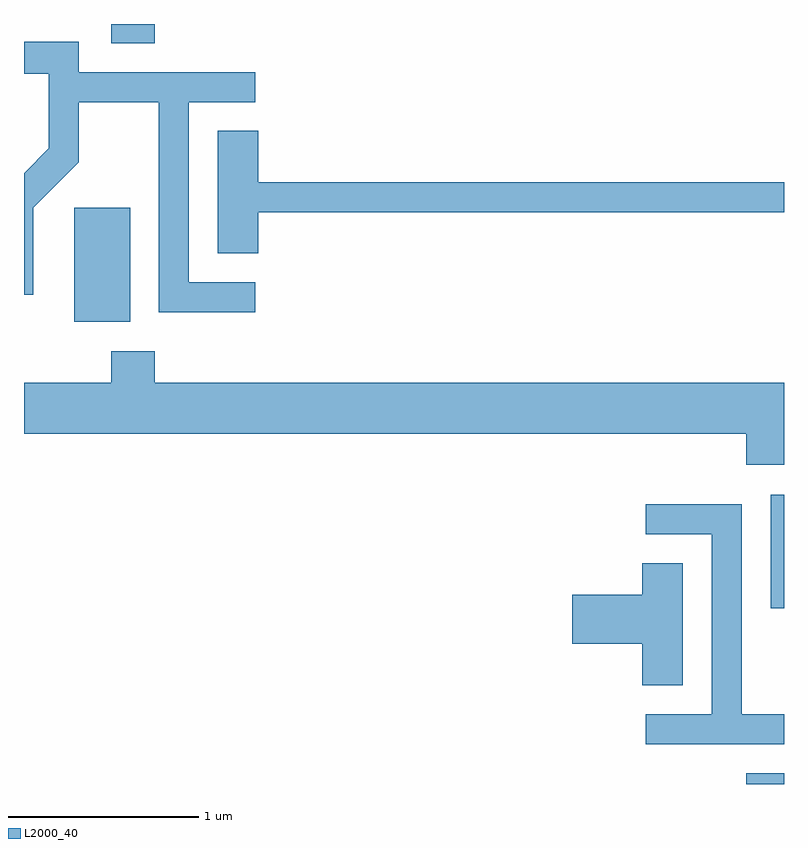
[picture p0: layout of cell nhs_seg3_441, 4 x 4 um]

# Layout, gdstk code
import gdstk
lib = gdstk.Library(unit=1e-6, precision=1e-09)
def R(c, l, rs):  # rectangles x0, y0, x1, y1
    for r in rs: c.add(gdstk.rectangle(r[:2], r[2:], *l))
def P(c, l, *ps):  # polygons
    for p in ps: c.add(gdstk.Polygon(p, *l))
L2000_40 = (2000, 40)

nhs_seg3_441 = lib.new_cell('nhs_seg3_441')
R(nhs_seg3_441, L2000_40, [(201.411,1181.892,201.611,1181.949), (201.541,1182.816,201.611,1183.414), (197.876,1184.326,198.169,1184.924), (198.071,1185.791,198.299,1185.892)])
P(nhs_seg3_441, L2000_40, [(198.828,1184.534),(198.479,1184.534),(198.479,1185.481),(198.828,1185.481),(198.828,1185.639),(197.899,1185.639),(197.899,1185.799),(197.611,1185.799),(197.611,1185.631),(197.741,1185.631),(197.741,1185.237),(197.611,1185.107),(197.611,1184.468),(197.659,1184.468),(197.659,1184.924),(197.899,1185.164),(197.899,1185.481),(198.321,1185.481),(198.321,1184.376),(198.828,1184.376)],
  [(198.844,1184.901),(201.611,1184.901),(201.611,1185.059),(198.844,1185.059),(198.844,1185.329),(198.631,1185.329),(198.631,1184.686),(198.844,1184.686)],
  [(201.611,1184.004),(198.299,1184.004),(198.299,1184.169),(198.071,1184.169),(198.071,1184.004),(197.611,1184.004),(197.611,1183.736),(201.411,1183.736),(201.411,1183.571),(201.611,1183.571)],
  [(201.611,1182.259),(201.389,1182.259),(201.389,1183.364),(200.883,1183.364),(200.883,1183.206),(201.231,1183.206),(201.231,1182.259),(200.883,1182.259),(200.883,1182.101),(201.611,1182.101)],
  [(201.079,1183.054),(200.866,1183.054),(200.866,1182.889),(200.496,1182.889),(200.496,1182.631),(200.866,1182.631),(200.866,1182.411),(201.079,1182.411)])

lib.write_gds('nhs_seg3_441.gds')
